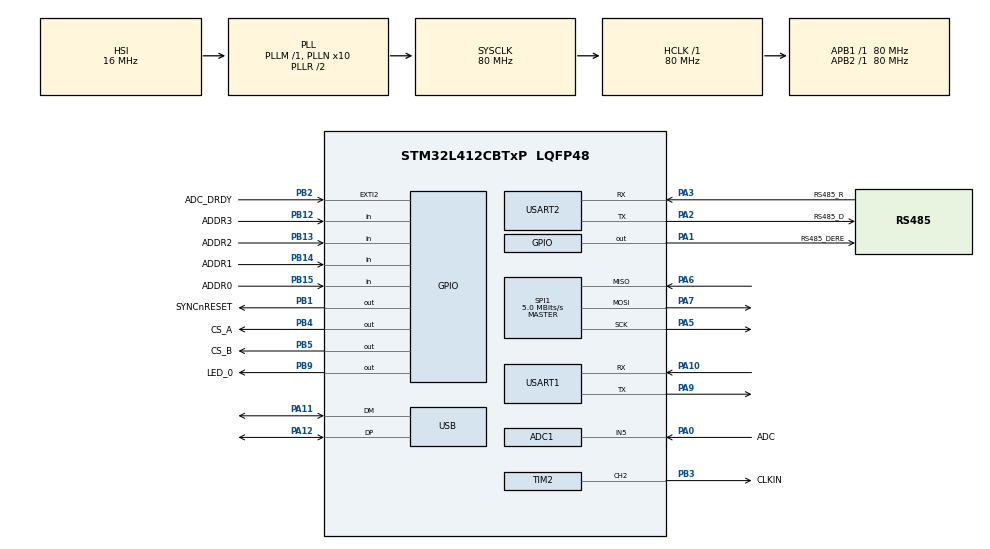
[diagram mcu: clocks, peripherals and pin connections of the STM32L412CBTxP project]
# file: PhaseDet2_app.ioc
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ADC1.Channel-0\#ChannelRegularConversion=ADC_CHANNEL_5
ADC1.ClockPrescaler=ADC_CLOCK_ASYNC_DIV8
ADC1.NbrOfConversionFlag=1
ADC1.OffsetNumber-0\#ChannelRegularConversion=ADC_OFFSET_NONE
ADC1.Rank-0\#ChannelRegularConversion=1
ADC1.SamplingTime-0\#ChannelRegularConversion=ADC_SAMPLETIME_24CYCLES_5
ADC1.master=1
CRC.InputDataFormat=CRC_INPUTDATA_FORMAT_WORDS
Mcu.Family=STM32L4
Mcu.Name=STM32L412CBTxP
Mcu.Package=LQFP48
NVIC.EXTI2_IRQn=true\:0\:0\:false\:false\:true\:true\:true\:true
NVIC.PriorityGroup=NVIC_PRIORITYGROUP_4
NVIC.USB_IRQn=true\:0\:0\:false\:false\:true\:true\:true\:true
PA0.GPIO_Label=ADC
PA0.Signal=ADCx_IN5
PA1.GPIO_Label=RS485_DERE
PA1.GPIO_Speed=GPIO_SPEED_FREQ_VERY_HIGH
PA1.Signal=GPIO_Output
PA10.Mode=Asynchronous
PA10.Signal=USART1_RX
PA11.Mode=Device
PA11.Signal=USB_DM
PA12.Mode=Device
PA12.Signal=USB_DP
PA13\ (JTMS/SWDIO).Mode=Serial_Wire
PA13\ (JTMS/SWDIO).Signal=SYS_JTMS-SWDIO
PA14\ (JTCK/SWCLK).Mode=Serial_Wire
PA14\ (JTCK/SWCLK).Signal=SYS_JTCK-SWCLK
PA2.GPIO_Label=RS485_D
PA2.Mode=Asynchronous
PA2.Signal=USART2_TX
PA3.GPIO_Label=RS485_R
PA3.Mode=Asynchronous
PA3.Signal=USART2_RX
PA5.Mode=Full_Duplex_Master
PA5.Signal=SPI1_SCK
PA6.Mode=Full_Duplex_Master
PA6.Signal=SPI1_MISO
PA7.Mode=Full_Duplex_Master
PA7.Signal=SPI1_MOSI
PA9.Mode=Asynchronous
PA9.Signal=USART1_TX
PB1.GPIO_Label=SYNCnRESET
PB1.PinState=GPIO_PIN_SET
PB1.Signal=GPIO_Output
PB12.GPIO_Label=ADDR3
PB12.GPIO_PuPd=GPIO_PULLUP
PB12.Signal=GPIO_Input
PB13.GPIO_Label=ADDR2
PB13.GPIO_PuPd=GPIO_PULLUP
PB13.Signal=GPIO_Input
PB14.GPIO_Label=ADDR1
PB14.GPIO_PuPd=GPIO_PULLUP
PB14.Signal=GPIO_Input
PB15.GPIO_Label=ADDR0
PB15.GPIO_PuPd=GPIO_PULLUP
PB15.Signal=GPIO_Input
PB2.GPIO_Label=ADC_DRDY
PB2.GPIO_ModeDefaultEXTI=GPIO_MODE_IT_FALLING
PB2.Signal=GPXTI2
PB3\ (JTDO/TRACESWO).GPIO_Label=CLKIN
PB3\ (JTDO/TRACESWO).GPIO_Speed=GPIO_SPEED_FREQ_VERY_HIGH
PB3\ (JTDO/TRACESWO).Signal=S_TIM2_CH2
PB4\ (NJTRST).GPIO_Label=CS_A
PB4\ (NJTRST).GPIO_Speed=GPIO_SPEED_FREQ_VERY_HIGH
PB4\ (NJTRST).PinState=GPIO_PIN_SET
PB4\ (NJTRST).Signal=GPIO_Output
PB5.GPIO_Label=CS_B
PB5.GPIO_Speed=GPIO_SPEED_FREQ_VERY_HIGH
PB5.PinState=GPIO_PIN_SET
PB5.Signal=GPIO_Output
PB9.GPIO_Label=LED_0
PB9.Signal=GPIO_Output
ProjectManager.HeapSize=0x200
ProjectManager.StackSize=0x400
ProjectManager.TargetToolchain=STM32CubeIDE
RCC.ADCFreq_Value=80000000
RCC.AHBFreq_Value=80000000
RCC.APB1Freq_Value=80000000
RCC.APB1TimFreq_Value=80000000
RCC.APB2Freq_Value=80000000
RCC.APB2TimFreq_Value=80000000
RCC.CK48CLockSelection=RCC_USBCLKSOURCE_HSI48
RCC.CortexFreq_Value=80000000
RCC.HCLKFreq_Value=80000000
RCC.HSE_VALUE=8000000
RCC.HSI48_VALUE=48000000
RCC.HSI_VALUE=16000000
RCC.LSE_VALUE=32768
RCC.MSI_VALUE=4000000
RCC.PLLN=10
RCC.PLLSourceVirtual=RCC_PLLSOURCE_HSI
RCC.SYSCLKFreq_VALUE=80000000
RCC.SYSCLKSource=RCC_SYSCLKSOURCE_PLLCLK
RCC.USBFreq_Value=48000000
RCC.VCOOutputFreq_Value=160000000
SH.ADCx_IN5.0=ADC1_IN5,IN5-Single-Ended
SH.S_TIM2_CH2.0=TIM2_CH2,PWM Generation2 CH2
SPI1.BaudRatePrescaler=SPI_BAUDRATEPRESCALER_16
SPI1.CLKPhase=SPI_PHASE_2EDGE
SPI1.CalculateBaudRate=5.0 MBits/s
SPI1.DataSize=SPI_DATASIZE_16BIT
SPI1.Direction=SPI_DIRECTION_2LINES
SPI1.Mode=SPI_MODE_MASTER
SPI1.VirtualType=VM_MASTER
TIM2.Channel-PWM\ Generation2\ CH2=TIM_CHANNEL_2
TIM2.Period=9
TIM2.Pulse-PWM\ Generation2\ CH2=5
TIM6.Prescaler=79
USART1.VirtualMode-Asynchronous=VM_ASYNC
USART2.VirtualMode-Asynchronous=VM_ASYNC
USB_DEVICE.APP_RX_DATA_SIZE=4
USB_DEVICE.APP_TX_DATA_SIZE=4
USB_DEVICE.CLASS_NAME_FS=CDC
USB_DEVICE.PRODUCT_STRING_CDC_FS=PhaseDetector2
USB_DEVICE.VirtualMode=Cdc
USB_DEVICE.VirtualModeFS=Cdc_FS
VP_CRC_VS_CRC.Mode=CRC_Activate
VP_IWDG_VS_IWDG.Mode=IWDG_Activate
VP_TIM15_VS_ClockSourceINT.Mode=Internal
VP_TIM6_VS_ClockSourceINT.Mode=Enable_Timer
VP_USB_DEVICE_VS_USB_DEVICE_CDC_FS.Mode=CDC_FS
board=custom

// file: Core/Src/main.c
/* USER CODE BEGIN Header */
/**
  ******************************************************************************
  * @file           : main.c
  * @brief          : Main program body
  ******************************************************************************
  * @attention
  *
  * Copyright (c) 2025 STMicroelectronics.
  * All rights reserved.
  *
  * This software is licensed under terms that can be found in the LICENSE file
  * in the root directory of this software component.
  * If no LICENSE file comes with this software, it is provided AS-IS.
  *
  ******************************************************************************
  */
/* USER CODE END Header */
#include "main.h"
#include "adc.h"
#include "crc.h"
#include "iwdg.h"
#include "spi.h"
#include "tim.h"
#include "usart.h"
#include "usb_device.h"
#include "gpio.h"

/* USER CODE BEGIN Includes */
#include "common.h"

#include "modbus_slave.h"
#include "configuration.h"
#include "mb_upgrade.h"
#include "system_msp.h"
#include "adc.h"
#include "switch.h"
#include "control.h"
#include "flash_app.h"
#include "usbd_cdc_if.h"
#include "amc131m02.h"

/* USER CODE END Includes */

/* USER CODE BEGIN PTD */
#define PERIOD_HANDLE_LOW_PRIO      500
/* USER CODE END PTD */

void SystemClock_Config(void);

int main(void)
{
  /* USER CODE BEGIN 1 */
  uint32_t tick = 0;
  volatile uint16_t reg = 0;

  /* Remap reset vector and enable interrupts */
  RCC->CFGR = 0x00000000U;  // workaround - disable PLL otherwise clock config returns error
  System_RemapVector();
  __enable_irq();
  SET_BIT(DBGMCU->APB1FZR1, DBGMCU_APB1FZR1_DBG_IWDG_STOP);
  /* USER CODE END 1 */

  /* MCU Configuration--------------------------------------------------------*/

  /* Reset of all peripherals, Initializes the Flash interface and the Systick. */
  HAL_Init();

  /* Configure the system clock */
  SystemClock_Config();

  /* Initialize all configured peripherals */
  MX_GPIO_Init();
  MX_ADC1_Init();
  MX_IWDG_Init();
  MX_SPI1_Init();
  MX_TIM2_Init();
  MX_TIM15_Init();
  MX_USART1_UART_Init();
  MX_USART2_UART_Init();
  MX_CRC_Init();
  MX_USB_DEVICE_Init();
  MX_TIM6_Init();
  /* USER CODE BEGIN 2 */

  /* Initialize all configured peripherals */
  Config_Init();
  FlashApp_Init();
  MbSlave_Init();
  Control_Init();
  Amc_Init();

  /* Set initial function */
  System_ReloadWdg();

  /* USER CODE END 2 */

  /* Infinite loop */
  /* USER CODE BEGIN WHILE */
  while (1)
  {
    /* High priority handles */
    MbSlave_Handle();
    CDC_PacketReceived();

    /* Low priority - slow handles */
    if (TICK_EXPIRED(tick))
    {
      tick = HAL_GetTick() + PERIOD_HANDLE_LOW_PRIO;
      conf.sys.io_input = Switch_GetAll();

      Control_Handle();
      MbSlave_UpdateSlaveAddress();
      FlashApp_Handle();
      System_ReloadWdg();

      reg = Amc_ReadRegister(AMC_REG_ID);
    }

    /* USER CODE END WHILE */

  }
}

void SystemClock_Config(void)
{
  RCC_OscInitTypeDef RCC_OscInitStruct = {0};
  RCC_ClkInitTypeDef RCC_ClkInitStruct = {0};

  /** Configure the main internal regulator output voltage
  */
  if (HAL_PWREx_ControlVoltageScaling(PWR_REGULATOR_VOLTAGE_SCALE1) != HAL_OK)
  {
    Error_Handler();
  }

  /** Initializes the RCC Oscillators according to the specified parameters
  * in the RCC_OscInitTypeDef structure.
  */
  RCC_OscInitStruct.OscillatorType = RCC_OSCILLATORTYPE_HSI48|RCC_OSCILLATORTYPE_HSI
                              |RCC_OSCILLATORTYPE_LSI;
  RCC_OscInitStruct.HSIState = RCC_HSI_ON;
  RCC_OscInitStruct.HSI48State = RCC_HSI48_ON;
  RCC_OscInitStruct.HSICalibrationValue = RCC_HSICALIBRATION_DEFAULT;
  RCC_OscInitStruct.LSIState = RCC_LSI_ON;
  RCC_OscInitStruct.PLL.PLLState = RCC_PLL_ON;
  RCC_OscInitStruct.PLL.PLLSource = RCC_PLLSOURCE_HSI;
  RCC_OscInitStruct.PLL.PLLM = 1;
  RCC_OscInitStruct.PLL.PLLN = 10;
  RCC_OscInitStruct.PLL.PLLQ = RCC_PLLQ_DIV2;
  RCC_OscInitStruct.PLL.PLLR = RCC_PLLR_DIV2;
  if (HAL_RCC_OscConfig(&RCC_OscInitStruct) != HAL_OK)
  {
    Error_Handler();
  }

  /** Initializes the CPU, AHB and APB buses clocks
  */
  RCC_ClkInitStruct.ClockType = RCC_CLOCKTYPE_HCLK|RCC_CLOCKTYPE_SYSCLK
                              |RCC_CLOCKTYPE_PCLK1|RCC_CLOCKTYPE_PCLK2;
  RCC_ClkInitStruct.SYSCLKSource = RCC_SYSCLKSOURCE_PLLCLK;
  RCC_ClkInitStruct.AHBCLKDivider = RCC_SYSCLK_DIV1;
  RCC_ClkInitStruct.APB1CLKDivider = RCC_HCLK_DIV1;
  RCC_ClkInitStruct.APB2CLKDivider = RCC_HCLK_DIV1;

  if (HAL_RCC_ClockConfig(&RCC_ClkInitStruct, FLASH_LATENCY_4) != HAL_OK)
  {
    Error_Handler();
  }
}

/* USER CODE BEGIN 4 */

void HAL_UART_RxCpltCallback(UART_HandleTypeDef *huart)
{
  /* UART receive complete Callbacks */
  MbSlave_RxCpltCallback(huart);
}

void HAL_UART_TxCpltCallback(UART_HandleTypeDef *huart)
{
  /* UART transmit complete Callbacks */
  MbSlave_TxCpltCallback(huart);
}

void HAL_UART_ErrorCallback(UART_HandleTypeDef *huart)
{
  /* UART error Callbacks */
  MbSlave_ErrorCallback(huart);
}

#define FW_UPGR_MASK            0xFFFF
#define FW_UPGR_VALUE_FIRM      CONF_TARGET_DEVICE

Status_t MbUpgr_HeaderClb(uint16_t type, uint16_t mode, uint32_t size)
{
  Status_t ret = STATUS_OK;

  if ((type & FW_UPGR_MASK) == FW_UPGR_VALUE_FIRM)
  {
    switch (mode)
    {
      case MB_UPGR_MODE_ERASE_AT_START:
        ret = System_FlashErase((uint32_t)CONF_C_APP_BUFFER_OFFSET, (uint32_t)CONF_C_APP_BUFFER_OFFSET + size);
        break;
      case MB_UPGR_MODE_APPLY:
        System_Delay(1000);
        System_Reset();
        break;
      default:
        break;
    }
  }
  else
  {
    ret = STATUS_ERROR;
  }

  return ret;
}

Status_t MbUpgr_WritePageClb(uint32_t offset, uint8_t *data, uint16_t length)
{
  Status_t ret = STATUS_OK;

  /* Write new data into flash */
  ret = System_FlashProgram((uint32_t)CONF_C_APP_BUFFER_OFFSET + offset, data, length);

  return ret;
}

Status_t MbUpgr_WriteDoneClb(uint32_t length)
{
  Status_t ret = STATUS_OK;

  if ((MbUpgr_GetType() & FW_UPGR_MASK) == FW_UPGR_VALUE_FIRM)
  {
    /* The very last packet, verify image */
    ret = System_VerifyImage((uint32_t*) CONF_C_APP_BUFFER_OFFSET, 0);

    /* In case of error, erase application buffer */
    if (ret)
    {
      System_FlashErase((uint32_t)CONF_C_APP_BUFFER_OFFSET, (uint32_t)CONF_C_APP_BUFFER_OFFSET + length);
    }
  }
  else
  {
    ret = STATUS_ERROR;
  }

  return ret;
}

/* USER CODE END 4 */

void Error_Handler(void)
{
  __disable_irq();
  while (1)
  {
  }
}
